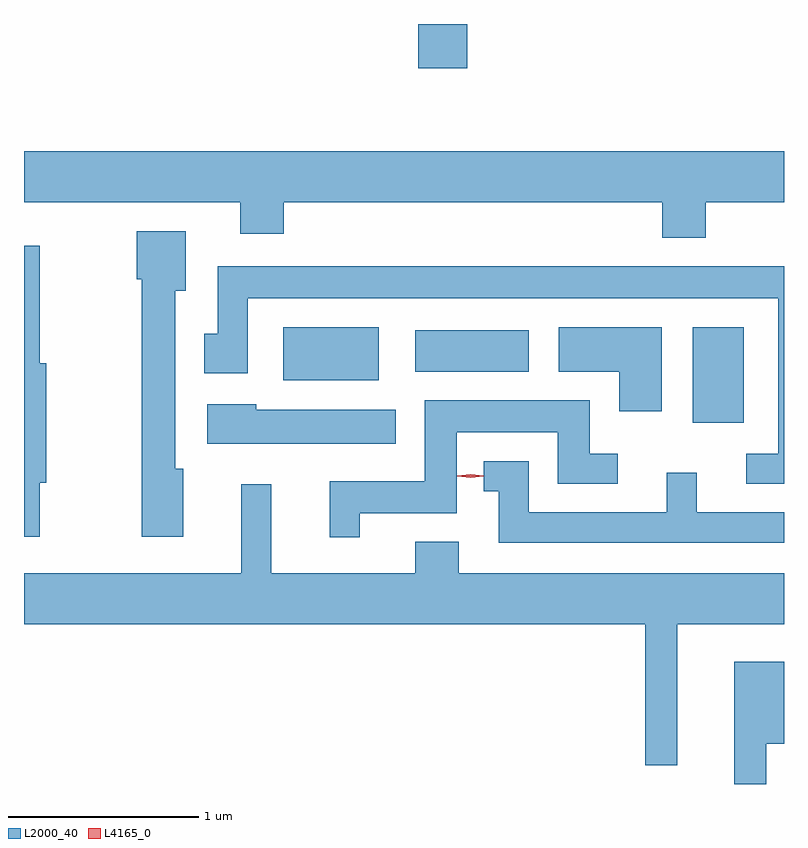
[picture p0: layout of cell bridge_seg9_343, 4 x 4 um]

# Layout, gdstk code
import gdstk
lib = gdstk.Library(unit=1e-6, precision=1e-09)
def R(c, l, rs):  # rectangles x0, y0, x1, y1
    for r in rs: c.add(gdstk.rectangle(r[:2], r[2:], *l))
def P(c, l, *ps):  # polygons
    for p in ps: c.add(gdstk.Polygon(p, *l))
L2000_40 = (2000, 40)
L4165_0 = (4165, 0)

bridge_seg9_343 = lib.new_cell('bridge_seg9_343')
R(bridge_seg9_343, L2000_40, [(764.681,1986.216,764.949,1986.719), (762.526,1986.441,763.029,1986.719), (763.221,1986.486,763.819,1986.704), (763.236,1988.081,763.494,1988.315)])
P(bridge_seg9_343, L2000_40, [(764.749,1987.376),(765.162,1987.376),(765.162,1987.644),(761.162,1987.644),(761.162,1987.376),(762.301,1987.376),(762.301,1987.211),(762.529,1987.211),(762.529,1987.376),(764.521,1987.376),(764.521,1987.191),(764.749,1987.191)],
  [(761.999,1985.974),(761.959,1985.974),(761.959,1986.911),(762.014,1986.911),(762.014,1987.224),(761.756,1987.224),(761.756,1986.971),(761.781,1986.971),(761.781,1985.616),(761.999,1985.616)],
  [(761.244,1985.901),(761.279,1985.901),(761.279,1986.529),(761.244,1986.529),(761.244,1987.149),(761.162,1987.149),(761.162,1985.616),(761.244,1985.616)],
  [(765.162,1987.039),(762.181,1987.039),(762.181,1986.684),(762.111,1986.684),(762.111,1986.476),(762.339,1986.476),(762.339,1986.871),(765.131,1986.871),(765.131,1986.054),(764.963,1986.054),(764.963,1985.896),(765.162,1985.896)],
  [(764.519,1986.719),(763.976,1986.719),(763.976,1986.486),(764.296,1986.486),(764.296,1986.276),(764.519,1986.276)],
  [(762.929,1985.741),(763.439,1985.741),(763.439,1986.166),(763.971,1986.166),(763.971,1985.896),(764.288,1985.896),(764.288,1986.054),(764.139,1986.054),(764.139,1986.334),(763.271,1986.334),(763.271,1985.909),(762.771,1985.909),(762.771,1985.613),(762.929,1985.613)],
  [(763.119,1986.284),(762.384,1986.284),(762.384,1986.314),(762.126,1986.314),(762.126,1986.106),(763.119,1986.106)],
  [(765.162,1985.744),(764.704,1985.744),(764.704,1985.953),(764.546,1985.953),(764.546,1985.744),(763.819,1985.744),(763.819,1986.014),(763.583,1986.014),(763.583,1985.856),(763.661,1985.856),(763.661,1985.586),(765.162,1985.586)],
  [(764.599,1985.156),(765.162,1985.156),(765.162,1985.424),(763.449,1985.424),(763.449,1985.589),(763.221,1985.589),(763.221,1985.424),(762.464,1985.424),(762.464,1985.893),(762.306,1985.893),(762.306,1985.424),(761.162,1985.424),(761.162,1985.156),(764.431,1985.156),(764.431,1984.413),(764.599,1984.413)],
  [(765.069,1984.526),(765.162,1984.526),(765.162,1984.959),(764.901,1984.959),(764.901,1984.315),(765.069,1984.315)])
P(bridge_seg9_343, L4165_0, [(763.512,1985.926),(763.442,1985.936),(763.442,1985.937),(763.442,1985.937),(763.512,1985.946),(763.581,1985.937),(763.581,1985.936),(763.581,1985.936)])

lib.write_gds('bridge_seg9_343.gds')
